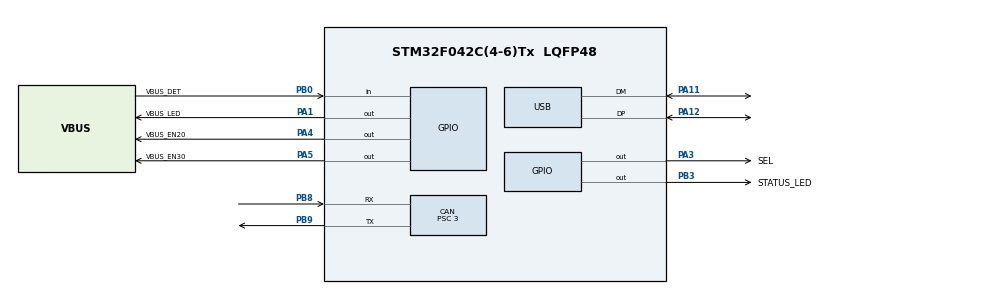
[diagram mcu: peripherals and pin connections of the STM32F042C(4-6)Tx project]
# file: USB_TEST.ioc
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CAN.BS1=CAN_BS1_13TQ
CAN.BS2=CAN_BS2_2TQ
CAN.CalculateTimeQuantum=62.5
CAN.Prescaler=3
Mcu.Family=STM32F0
Mcu.Name=STM32F042C(4-6)Tx
Mcu.Package=LQFP48
NVIC.CEC_CAN_IRQn=true\:0\:0\:false\:false\:true\:true\:true
NVIC.USB_IRQn=true\:0\:0\:false\:false\:true\:false\:true
PA1.GPIO_Label=VBUS_LED
PA1.GPIO_ModeDefaultOutputPP=GPIO_MODE_OUTPUT_PP
PA1.GPIO_PuPd=GPIO_NOPULL
PA1.GPIO_Speed=GPIO_SPEED_FREQ_LOW
PA1.PinState=GPIO_PIN_RESET
PA1.Signal=GPIO_Output
PA11.Mode=Device
PA11.Signal=USB_DM
PA12.Mode=Device
PA12.Signal=USB_DP
PA13.Mode=Serial_Wire
PA13.Signal=SYS_SWDIO
PA14.Mode=Serial_Wire
PA14.Signal=SYS_SWCLK
PA3.GPIO_Label=SEL
PA3.GPIO_ModeDefaultOutputPP=GPIO_MODE_OUTPUT_PP
PA3.GPIO_PuPd=GPIO_NOPULL
PA3.GPIO_Speed=GPIO_SPEED_FREQ_HIGH
PA3.PinState=GPIO_PIN_RESET
PA3.Signal=GPIO_Output
PA4.GPIO_Label=VBUS_EN20
PA4.Signal=GPIO_Output
PA5.GPIO_Label=VBUS_EN30
PA5.Signal=GPIO_Output
PB0.GPIO_Label=VBUS_DET
PB0.GPIO_Mode=GPIO_MODE_INPUT
PB0.GPIO_PuPd=GPIO_NOPULL
PB0.Signal=GPIO_Input
PB3.GPIO_Label=STATUS_LED
PB3.GPIO_ModeDefaultOutputPP=GPIO_MODE_OUTPUT_PP
PB3.GPIO_PuPd=GPIO_NOPULL
PB3.GPIO_Speed=GPIO_SPEED_FREQ_HIGH
PB3.PinState=GPIO_PIN_RESET
PB3.Signal=GPIO_Output
PB8.GPIO_FM8=SYSCFG_CFGR1_I2C_FMP_PB8
PB8.Mode=Master
PB8.Signal=CAN_RX
PB9.GPIO_FM9=SYSCFG_CFGR1_I2C_FMP_PB9
PB9.Mode=Master
PB9.Signal=CAN_TX
ProjectManager.HeapSize=0x200
ProjectManager.StackSize=0x400
ProjectManager.TargetToolchain=MDK-ARM V5.27
RCC.AHBFreq_Value=48000000
RCC.APB1Freq_Value=48000000
RCC.APB1TimFreq_Value=48000000
RCC.HCLKFreq_Value=48000000
RCC.PLLDivider=RCC_PREDIV_DIV2
RCC.PLLSourceVirtual=RCC_PLLSOURCE_HSI48
RCC.SYSCLKFreq_VALUE=48000000
RCC.SYSCLKSource=RCC_SYSCLKSOURCE_PLLCLK
USB_DEVICE.APP_RX_DATA_SIZE=10
USB_DEVICE.APP_TX_DATA_SIZE=10
USB_DEVICE.CLASS_NAME_FS=CDC
USB_DEVICE.MANUFACTURER_STRING=Stryx.Inc
USB_DEVICE.PRODUCT_STRING_CDC_FS=USB Protocol Changer
USB_DEVICE.USBD_MAX_STR_DESC_SIZ=128
USB_DEVICE.USBD_SELF_POWERED=0
USB_DEVICE.VirtualMode=Cdc
USB_DEVICE.VirtualModeFS=Cdc_FS
VP_USB_DEVICE_VS_USB_DEVICE_CDC_FS.Mode=CDC_FS
board=custom

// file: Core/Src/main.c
/* USER CODE BEGIN Header */
/**
 ******************************************************************************
 * @file           : main.c
 * @brief          : Main program body
 ******************************************************************************
 * @attention
 *
 * <h2><center>&copy; Copyright (c) 2020 STMicroelectronics.
 * All rights reserved.</center></h2>
 *
 * This software component is licensed by ST under BSD 3-Clause license,
 * the "License"; You may not use this file except in compliance with the
 * License. You may obtain a copy of the License at:
 *                        opensource.org/licenses/BSD-3-Clause
 *
 ******************************************************************************
 */
/* USER CODE END Header */
#include "main.h"
#include "usb_device.h"

CAN_HandleTypeDef hcan;

/* USER CODE BEGIN PV */
volatile uint8_t xFlag = 0; // USB 2, 3 select Flag

CAN_FilterTypeDef sFilterConfig;

CAN_RxHeaderTypeDef RxHeader;
CAN_TxHeaderTypeDef TxHeader;

uint8_t RxData[8];
uint8_t TxData[8];

uint32_t TxMailBox;

/* USER CODE END PV */

void SystemClock_Config(void);
void MX_GPIO_Init(void);
void MX_CAN_Init(void);
/* USER CODE BEGIN PFP */
void CAN_Transmit(void);
int _write(int file, char *ptr, int len) {
	CDC_Transmit_FS((uint8_t*) ptr, len);
	return (len);
}

/* USER CODE END PFP */

int main(void)
{

  /* MCU Configuration--------------------------------------------------------*/

  /* Reset of all peripherals, Initializes the Flash interface and the Systick. */
  HAL_Init();

  /* Configure the system clock */
  SystemClock_Config();

  /* Initialize all configured peripherals */
  MX_GPIO_Init();
  MX_CAN_Init();
  MX_USB_DEVICE_Init();
  /* USER CODE BEGIN 2 */
	HAL_CAN_Start(&hcan);
	HAL_CAN_ActivateNotification(&hcan, CAN_IT_RX_FIFO0_MSG_PENDING);
  /* USER CODE END 2 */

  /* Infinite loop */
  /* USER CODE BEGIN WHILE */
	HAL_GPIO_WritePin(SEL_GPIO_Port, SEL_Pin, SET);
	HAL_GPIO_WritePin(STATUS_LED_GPIO_Port, STATUS_LED_Pin, SET);
	HAL_GPIO_WritePin(VBUS_LED_GPIO_Port, VBUS_LED_Pin, SET);
	HAL_GPIO_WritePin(VBUS_EN20_GPIO_Port, VBUS_EN20_Pin, SET);
	HAL_GPIO_WritePin(VBUS_EN30_GPIO_Port, VBUS_EN30_Pin, RESET);
	while (1) {
    /* USER CODE END WHILE */

    /* USER CODE BEGIN 3 */
		//CAN_Transmit();

		switch (xFlag) {
		case 'a':
			HAL_GPIO_WritePin(SEL_GPIO_Port, SEL_Pin, SET);
			HAL_GPIO_WritePin(STATUS_LED_GPIO_Port, STATUS_LED_Pin, SET);
			HAL_GPIO_WritePin(VBUS_LED_GPIO_Port, VBUS_LED_Pin, SET);
			HAL_GPIO_WritePin(VBUS_EN20_GPIO_Port, VBUS_EN20_Pin, SET);
			HAL_Delay(10);
			HAL_GPIO_WritePin(VBUS_EN30_GPIO_Port, VBUS_EN30_Pin, RESET);
			xFlag = 0;
			break;
		case 'b':
			HAL_GPIO_WritePin(SEL_GPIO_Port, SEL_Pin, RESET);
			HAL_GPIO_WritePin(STATUS_LED_GPIO_Port, STATUS_LED_Pin, RESET);
			HAL_GPIO_WritePin(VBUS_LED_GPIO_Port, VBUS_LED_Pin, RESET);
			HAL_Delay(10);
			HAL_GPIO_WritePin(VBUS_EN20_GPIO_Port, VBUS_EN20_Pin, SET);

			xFlag = 0;
			break;
		}
	}
  /* USER CODE END 3 */
}

void SystemClock_Config(void)
{
  LL_FLASH_SetLatency(LL_FLASH_LATENCY_1);
  while(LL_FLASH_GetLatency() != LL_FLASH_LATENCY_1)
  {
  }
  LL_RCC_HSI48_Enable();

   /* Wait till HSI48 is ready */
  while(LL_RCC_HSI48_IsReady() != 1)
  {

  }
  LL_RCC_PLL_ConfigDomain_SYS(LL_RCC_PLLSOURCE_HSI48, LL_RCC_PLL_MUL_2, LL_RCC_PREDIV_DIV_2);
  LL_RCC_PLL_Enable();

   /* Wait till PLL is ready */
  while(LL_RCC_PLL_IsReady() != 1)
  {

  }
  LL_RCC_SetAHBPrescaler(LL_RCC_SYSCLK_DIV_1);
  LL_RCC_SetAPB1Prescaler(LL_RCC_APB1_DIV_1);
  LL_RCC_SetSysClkSource(LL_RCC_SYS_CLKSOURCE_PLL);

   /* Wait till System clock is ready */
  while(LL_RCC_GetSysClkSource() != LL_RCC_SYS_CLKSOURCE_STATUS_PLL)
  {

  }
  LL_SetSystemCoreClock(48000000);

   /* Update the time base */
  if (HAL_InitTick (TICK_INT_PRIORITY) != HAL_OK)
  {
    Error_Handler();
  }
  LL_RCC_SetUSBClockSource(LL_RCC_USB_CLKSOURCE_HSI48);
}

void MX_CAN_Init(void)
{

  /* USER CODE BEGIN CAN_Init 0 */
	CAN_FilterTypeDef sFilterConfig;

  /* USER CODE END CAN_Init 0 */

  hcan.Instance = CAN;
  hcan.Init.Prescaler = 3;
  hcan.Init.Mode = CAN_MODE_NORMAL;
  hcan.Init.SyncJumpWidth = CAN_SJW_1TQ;
  hcan.Init.TimeSeg1 = CAN_BS1_13TQ;
  hcan.Init.TimeSeg2 = CAN_BS2_2TQ;
  hcan.Init.TimeTriggeredMode = DISABLE;
  hcan.Init.AutoBusOff = DISABLE;
  hcan.Init.AutoWakeUp = DISABLE;
  hcan.Init.AutoRetransmission = DISABLE;
  hcan.Init.ReceiveFifoLocked = DISABLE;
  hcan.Init.TransmitFifoPriority = DISABLE;
  if (HAL_CAN_Init(&hcan) != HAL_OK)
  {
    Error_Handler();
  }
  /* USER CODE BEGIN CAN_Init 2 */
	/*##-2- Configure the CAN Filter ###########################################*/
	sFilterConfig.FilterBank = 0;
	sFilterConfig.FilterMode = CAN_FILTERMODE_IDMASK;
	sFilterConfig.FilterScale = CAN_FILTERSCALE_32BIT;
	sFilterConfig.FilterIdHigh = 0x0000 << 5;
	sFilterConfig.FilterIdLow = 0x0000;
	sFilterConfig.FilterMaskIdHigh = 0x0000 << 5;
	sFilterConfig.FilterMaskIdLow = 0x0000;
	//sFilterConfig.FilterFIFOAssignment = CAN_RX_FIFO0;
	sFilterConfig.FilterFIFOAssignment = 0;
	sFilterConfig.FilterActivation = ENABLE;
	//sFilterConfig.SlaveStartFilterBank = 14;
	sFilterConfig.SlaveStartFilterBank = 0;

	if (HAL_CAN_ConfigFilter(&hcan, &sFilterConfig) != HAL_OK) {
		/* Filter configuration Error */
		Error_Handler();
	}

	/*##-5- Configure Transmission process #####################################*/
	TxHeader.StdId = 0x0;
	TxHeader.ExtId = 0x01;
	TxHeader.RTR = CAN_RTR_DATA;
	TxHeader.IDE = CAN_ID_STD;
	TxHeader.DLC = 8;
	TxHeader.TransmitGlobalTime = DISABLE;
  /* USER CODE END CAN_Init 2 */

}

void MX_GPIO_Init(void)
{
  LL_GPIO_InitTypeDef GPIO_InitStruct = {0};

  /* GPIO Ports Clock Enable */
  LL_AHB1_GRP1_EnableClock(LL_AHB1_GRP1_PERIPH_GPIOA);
  LL_AHB1_GRP1_EnableClock(LL_AHB1_GRP1_PERIPH_GPIOB);

  /**/
  LL_GPIO_ResetOutputPin(VBUS_LED_GPIO_Port, VBUS_LED_Pin);

  /**/
  LL_GPIO_ResetOutputPin(SEL_GPIO_Port, SEL_Pin);

  /**/
  LL_GPIO_ResetOutputPin(VBUS_EN20_GPIO_Port, VBUS_EN20_Pin);

  /**/
  LL_GPIO_ResetOutputPin(VBUS_EN30_GPIO_Port, VBUS_EN30_Pin);

  /**/
  LL_GPIO_ResetOutputPin(STATUS_LED_GPIO_Port, STATUS_LED_Pin);

  /**/
  GPIO_InitStruct.Pin = VBUS_LED_Pin;
  GPIO_InitStruct.Mode = LL_GPIO_MODE_OUTPUT;
  GPIO_InitStruct.Speed = LL_GPIO_SPEED_FREQ_LOW;
  GPIO_InitStruct.OutputType = LL_GPIO_OUTPUT_PUSHPULL;
  GPIO_InitStruct.Pull = LL_GPIO_PULL_NO;
  LL_GPIO_Init(VBUS_LED_GPIO_Port, &GPIO_InitStruct);

  /**/
  GPIO_InitStruct.Pin = SEL_Pin;
  GPIO_InitStruct.Mode = LL_GPIO_MODE_OUTPUT;
  GPIO_InitStruct.Speed = LL_GPIO_SPEED_FREQ_HIGH;
  GPIO_InitStruct.OutputType = LL_GPIO_OUTPUT_PUSHPULL;
  GPIO_InitStruct.Pull = LL_GPIO_PULL_NO;
  LL_GPIO_Init(SEL_GPIO_Port, &GPIO_InitStruct);

  /**/
  GPIO_InitStruct.Pin = VBUS_EN20_Pin;
  GPIO_InitStruct.Mode = LL_GPIO_MODE_OUTPUT;
  GPIO_InitStruct.Speed = LL_GPIO_SPEED_FREQ_LOW;
  GPIO_InitStruct.OutputType = LL_GPIO_OUTPUT_PUSHPULL;
  GPIO_InitStruct.Pull = LL_GPIO_PULL_NO;
  LL_GPIO_Init(VBUS_EN20_GPIO_Port, &GPIO_InitStruct);

  /**/
  GPIO_InitStruct.Pin = VBUS_EN30_Pin;
  GPIO_InitStruct.Mode = LL_GPIO_MODE_OUTPUT;
  GPIO_InitStruct.Speed = LL_GPIO_SPEED_FREQ_LOW;
  GPIO_InitStruct.OutputType = LL_GPIO_OUTPUT_PUSHPULL;
  GPIO_InitStruct.Pull = LL_GPIO_PULL_NO;
  LL_GPIO_Init(VBUS_EN30_GPIO_Port, &GPIO_InitStruct);

  /**/
  GPIO_InitStruct.Pin = VBUS_DET_Pin;
  GPIO_InitStruct.Mode = LL_GPIO_MODE_INPUT;
  GPIO_InitStruct.Pull = LL_GPIO_PULL_NO;
  LL_GPIO_Init(VBUS_DET_GPIO_Port, &GPIO_InitStruct);

  /**/
  GPIO_InitStruct.Pin = STATUS_LED_Pin;
  GPIO_InitStruct.Mode = LL_GPIO_MODE_OUTPUT;
  GPIO_InitStruct.Speed = LL_GPIO_SPEED_FREQ_HIGH;
  GPIO_InitStruct.OutputType = LL_GPIO_OUTPUT_PUSHPULL;
  GPIO_InitStruct.Pull = LL_GPIO_PULL_NO;
  LL_GPIO_Init(STATUS_LED_GPIO_Port, &GPIO_InitStruct);

}

/* USER CODE BEGIN 4 */
void CAN_Transmit(void) {
	TxMailBox = HAL_CAN_GetTxMailboxesFreeLevel(&hcan);
	for (int i = 0; i < 8; i++) {
		TxData[i] = i + 1;
	}
	HAL_CAN_AddTxMessage(&hcan, &TxHeader, TxData, &TxMailBox);
}

void HAL_CAN_RxFifo0MsgPendingCallback(CAN_HandleTypeDef *hcan) {

	RxHeader.StdId = 0;         //clear
	HAL_CAN_GetRxMessage(hcan, CAN_RX_FIFO0, &RxHeader, &RxData[0]);
	if (RxData[0] == 0x02) {
		xFlag = 'a';
		CDC_Transmit_FS((uint8_t*) "USB2 Activated\r\n", 16);
		//HAL_GPIO_TogglePin(STATUS_LED_GPIO_Port, STATUS_LED_Pin);
	}
	if (RxData[0] == 0x03) {
		xFlag = 'b';
		CDC_Transmit_FS((uint8_t*) "USB3 Activated\r\n", 16);
		//HAL_GPIO_TogglePin(STATUS_LED_GPIO_Port, STATUS_LED_Pin);
	}
	//HAL_GPIO_TogglePin(STATUS_LED_GPIO_Port, STATUS_LED_Pin);

	if ((RxHeader.StdId == 0x111)) {
		HAL_GPIO_WritePin(STATUS_LED_GPIO_Port, STATUS_LED_Pin, RESET);
		HAL_GPIO_WritePin(VBUS_LED_GPIO_Port, VBUS_LED_Pin, RESET);
		//HAL_GPIO_TogglePin(STATUS_LED_GPIO_Port, STATUS_LED_Pin);
	}
}

/* USER CODE END 4 */

void Error_Handler(void)
{
}

/************************ (C) COPYRIGHT STMicroelectronics *****END OF FILE****/
